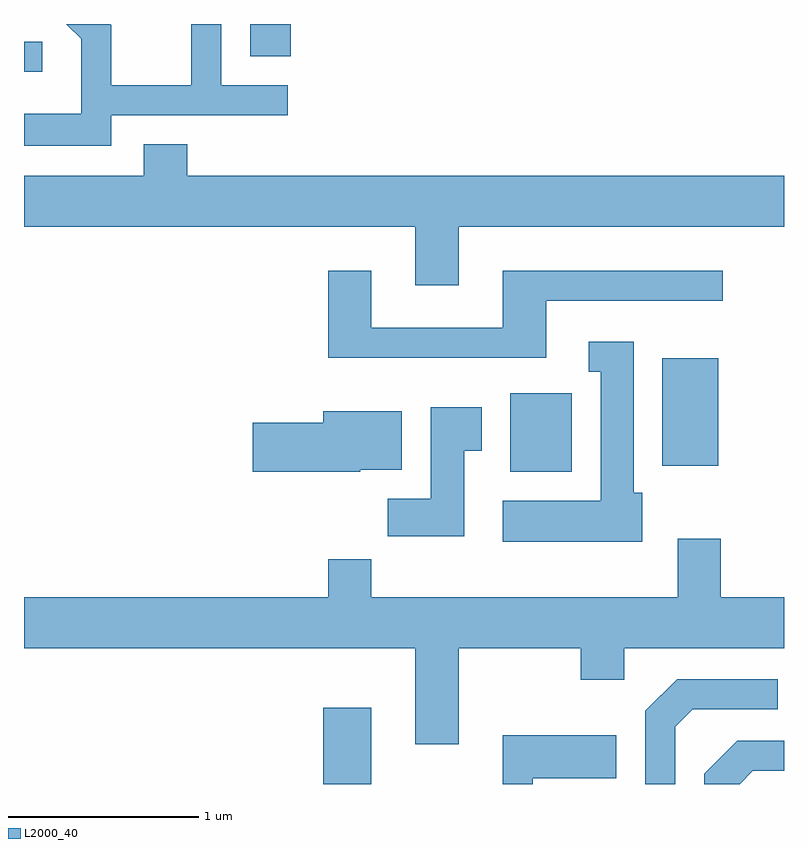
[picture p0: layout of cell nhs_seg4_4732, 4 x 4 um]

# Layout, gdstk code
import gdstk
lib = gdstk.Library(unit=1e-6, precision=1e-09)
def R(c, l, rs):  # rectangles x0, y0, x1, y1
    for r in rs: c.add(gdstk.rectangle(r[:2], r[2:], *l))
def P(c, l, *ps):  # polygons
    for p in ps: c.add(gdstk.Polygon(p, *l))
L2000_40 = (2000, 40)

nhs_seg4_4732 = lib.new_cell('nhs_seg4_4732')
R(nhs_seg4_4732, L2000_40, [(325.186,1333.982,325.439,1334.384), (326.171,1335.626,326.494,1336.039), (326.971,1335.656,327.264,1336.224), (323.611,1337.731,323.708,1337.889), (324.801,1337.811,325.014,1337.982)])
P(nhs_seg4_4732, L2000_40, [(324.069,1337.501),(324.998,1337.501),(324.998,1337.659),(324.649,1337.659),(324.649,1337.982),(324.491,1337.982),(324.491,1337.659),(324.069,1337.659),(324.069,1337.977),(324.064,1337.982),(323.833,1337.982),(323.911,1337.904),(323.911,1337.509),(323.611,1337.509),(323.611,1337.341),(324.069,1337.341)],
  [(325.899,1336.916),(327.611,1336.916),(327.611,1337.184),(324.469,1337.184),(324.469,1337.349),(324.241,1337.349),(324.241,1337.184),(323.611,1337.184),(323.611,1336.916),(325.671,1336.916),(325.671,1336.606),(325.899,1336.606)],
  [(326.359,1336.526),(327.288,1336.526),(327.288,1336.684),(326.131,1336.684),(326.131,1336.384),(325.439,1336.384),(325.439,1336.684),(325.211,1336.684),(325.211,1336.226),(326.359,1336.226)],
  [(326.864,1335.514),(326.819,1335.514),(326.819,1336.309),(326.583,1336.309),(326.583,1336.151),(326.646,1336.151),(326.646,1335.474),(326.131,1335.474),(326.131,1335.256),(326.864,1335.256)],
  [(325.929,1335.736),(326.019,1335.736),(326.019,1335.964),(325.751,1335.964),(325.751,1335.484),(325.526,1335.484),(325.526,1335.286),(325.929,1335.286)],
  [(325.38,1335.636),(325.599,1335.636),(325.599,1335.944),(325.186,1335.944),(325.186,1335.884),(324.816,1335.884),(324.816,1335.626),(325.38,1335.626)],
  [(325.899,1334.696),(326.541,1334.696),(326.541,1334.531),(326.769,1334.531),(326.769,1334.696),(327.611,1334.696),(327.611,1334.964),(327.279,1334.964),(327.279,1335.274),(327.051,1335.274),(327.051,1334.964),(325.439,1334.964),(325.439,1335.164),(325.211,1335.164),(325.211,1334.964),(323.611,1334.964),(323.611,1334.696),(325.671,1334.696),(325.671,1334.191),(325.899,1334.191)],
  [(327.039,1334.284),(327.132,1334.376),(327.578,1334.376),(327.578,1334.534),(327.049,1334.534),(326.881,1334.367),(326.881,1333.982),(327.039,1333.982)],
  [(326.289,1334.011),(326.729,1334.011),(326.729,1334.239),(326.131,1334.239),(326.131,1333.982),(326.289,1333.982)],
  [(327.447,1334.051),(327.611,1334.051),(327.611,1334.209),(327.364,1334.209),(327.191,1334.037),(327.191,1333.982),(327.377,1333.982)])

lib.write_gds('nhs_seg4_4732.gds')
